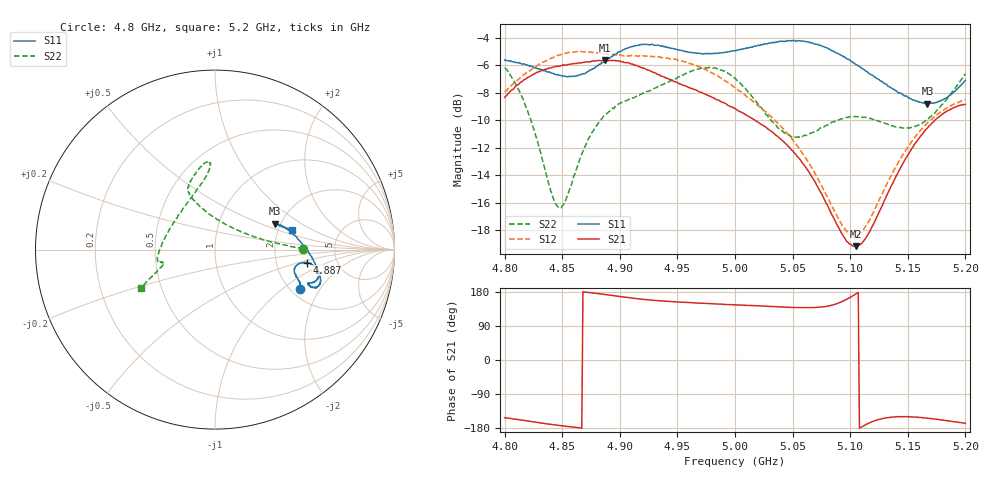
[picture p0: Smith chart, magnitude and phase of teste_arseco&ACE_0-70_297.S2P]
! Network Analyzer HP8722D
! Hewlett-Packard
! Data name: Linha & Wilkinson
! Saver's name: Rodrigo Anjos
! Comments: Teste da utilização de aquisição
! continua pelo VNA HP8722D
! Time and date: 8/5/2025 15:14
!  Frequency  S11  S21  S12  S22
# HZ  S  MA R 50
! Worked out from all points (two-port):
!   401 points, 4.8 GHz to 5.2 GHz, reference 50 ohm
!   highest |S21| = -5.64 dB at 4.887 GHz (marker M1); lowest = -19.1 dB at 5.105 GHz (marker M2)
!   |S21| within 3 dB of the highest: start of sweep to 4.987 GHz
!   lowest |S11| = -8.8 dB at 5.167 GHz (marker M3), VSWR 2.14, Z = 93.4 + j31 ohm
!   |S11| at or under -10 dB: nowhere
!   |S22| runs from -16.4 to -6.2 dB; largest |S21 - S12| = 1.1
!   S11 on the Smith chart (normalised r, x): 4.8 GHz: 2.23, -1.36; 4.887 GHz: 3.03, -0.60; 5.2 GHz: 2.37, +0.65
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4.8e9  0.5227 -25.1  0.3827 -152.3  0.4008 7.1  0.4911 0.6
4.818e9  0.5032 -20.8  0.4451 -160.0  0.4672 4.4  0.3579 5.3
4.84e9  0.4701 -17.4  0.4895 -169.7  0.5301 0.9  0.1755 34.6
4.846e9  0.4635 -16.3  0.4958 -172.2  0.5439 -0.3  0.1539 55.6
4.853e9  0.4569 -14.5  0.5009 -174.8  0.5537 -1.4  0.1619 80.9
4.867e9  0.4645 -10.7  0.5116 -179.9  0.561 -3.4  0.2384 106.9
4.887e9  0.5198 -8.0  0.5226 172.9  0.5508 -4.3  0.3299 114.4
4.911e9  0.5856 -11.6  0.506 163.4  0.5433 -3.6  0.3816 113.2
4.934e9  0.592 -16.8  0.4628 156.5  0.5379 -4.3  0.4185 106.9
4.973e9  0.5508 -19.9  0.3953 149.5  0.4876 -7.6  0.4901 95.5
5e9  0.5658 -21.1  0.349 145.6  0.4157 -7.5  0.4488 94.1
5.015e9  0.5829 -21.2  0.3207 143.6  0.3722 -5.5  0.3845 100.2
5.042e9  0.6122 -19.1  0.265 139.7  0.2942 0.2  0.2863 129.6
5.067e9  0.6032 -14.2  0.1964 138.2  0.2114 8.4  0.285 165.3
5.093e9  0.542 -4.6  0.1221 154.3  0.1313 33.6  0.3203 -173.9
5.105e9  0.5041 1.0  0.1103 174.4  0.1208 56.7  0.3255 -169.6
5.115e9  0.4735 6.2  0.1207 -168.2  0.1333 75.5  0.3227 -167.8
5.134e9  0.4186 15.6  0.1764 -151.5  0.1933 94.1  0.3038 -166.6
5.152e9  0.3791 21.9  0.2437 -149.9  0.2592 98.7  0.2976 -164.7
5.167e9  0.3635 23.4  0.2962 -153.6  0.3089 99.2  0.3183 -161.6
5.183e9  0.3802 20.7  0.3389 -159.6  0.3486 99.1  0.3736 -157.7
5.2e9  0.4416 14.6  0.3607 -167.0  0.376 99.7  0.4657 -152.3
